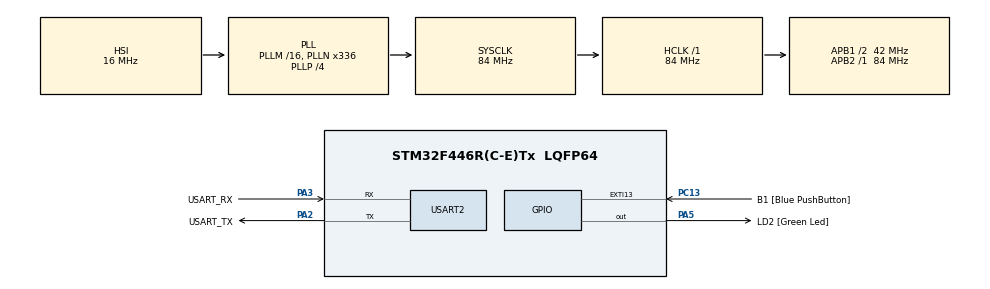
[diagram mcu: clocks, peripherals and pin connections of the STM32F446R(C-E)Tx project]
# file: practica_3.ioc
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Mcu.Family=STM32F4
Mcu.Name=STM32F446R(C-E)Tx
Mcu.Package=LQFP64
NVIC.PriorityGroup=NVIC_PRIORITYGROUP_0
PA13.GPIO_Label=TMS
PA13.Mode=Serial_Wire
PA13.Signal=SYS_JTMS-SWDIO
PA14.GPIO_Label=TCK
PA14.Mode=Serial_Wire
PA14.Signal=SYS_JTCK-SWCLK
PA2.GPIO_Label=USART_TX
PA2.Mode=Asynchronous
PA2.Signal=USART2_TX
PA3.GPIO_Label=USART_RX
PA3.Mode=Asynchronous
PA3.Signal=USART2_RX
PA5.GPIO_Label=LD2 [Green Led]
PA5.Signal=GPIO_Output
PB3.GPIO_Label=SWO
PB3.Signal=SYS_JTDO-SWO
PC13.GPIO_Label=B1 [Blue PushButton]
PC13.GPIO_ModeDefaultEXTI=GPIO_MODE_IT_FALLING
PC13.Signal=GPXTI13
PC14-OSC32_IN.Mode=LSE-External-Oscillator
PC14-OSC32_IN.Signal=RCC_OSC32_IN
PC15-OSC32_OUT.Mode=LSE-External-Oscillator
PC15-OSC32_OUT.Signal=RCC_OSC32_OUT
PH0-OSC_IN.Mode=HSE-External-Oscillator
PH0-OSC_IN.Signal=RCC_OSC_IN
PH1-OSC_OUT.Mode=HSE-External-Oscillator
PH1-OSC_OUT.Signal=RCC_OSC_OUT
ProjectManager.HeapSize=0x200
ProjectManager.StackSize=0x400
ProjectManager.TargetToolchain=STM32CubeIDE
RCC.48MHZClocksFreq_Value=84000000
RCC.AHBFreq_Value=84000000
RCC.APB1CLKDivider=RCC_HCLK_DIV2
RCC.APB1Freq_Value=42000000
RCC.APB1TimFreq_Value=84000000
RCC.APB2Freq_Value=84000000
RCC.APB2TimFreq_Value=84000000
RCC.CortexFreq_Value=84000000
RCC.FLatency-AdvancedSettings=FLASH_LATENCY_2
RCC.HCLKFreq_Value=84000000
RCC.HSE_VALUE=8000000
RCC.HSI_VALUE=16000000
RCC.PLLN=336
RCC.PLLP=RCC_PLLP_DIV4
RCC.SYSCLKFreq_VALUE=84000000
RCC.SYSCLKSource=RCC_SYSCLKSOURCE_PLLCLK
RCC.USBFreq_Value=168000000
RCC.VCOOutputFreq_Value=336000000
USART2.VirtualMode=VM_ASYNC
board=NUCLEO-F446RE

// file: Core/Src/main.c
/* USER CODE BEGIN Header */
/**
 ******************************************************************************
 * @file           : main.c
 * @brief          : Main program body
 ******************************************************************************
 * @attention
 *
 * Copyright (c) 2026 STMicroelectronics.
 * All rights reserved.
 *
 * This software is licensed under terms that can be found in the LICENSE file
 * in the root directory of this software component.
 * If no LICENSE file comes with this software, it is provided AS-IS.
 *
 ******************************************************************************
 */
/* USER CODE END Header */
#include "main.h"

/* USER CODE BEGIN Includes */
#include "API_delay.h"
/* USER CODE END Includes */

/* USER CODE BEGIN PD */
#define STEP_MS 100 //! Min time step time
#define FIRST_STEP 5
#define LAST_STEP 10

#define INIT_DURATION_DLY (FIRST_STEP * STEP_MS)
#define TIMES_PER_PERIOD 2 //! This is for the 50% dutycyle
/* USER CODE END PD */

UART_HandleTypeDef huart2;

/* USER CODE BEGIN PV */
const uint32_t TIEMPOS[] = { FIRST_STEP * STEP_MS, STEP_MS, STEP_MS,
LAST_STEP * STEP_MS };
const uint8_t len_times = sizeof(TIEMPOS) / sizeof(uint32_t);
/* USER CODE END PV */

void SystemClock_Config(void);
static void MX_GPIO_Init(void);
static void MX_USART2_UART_Init(void);

int main(void) {

	/* USER CODE BEGIN 1 */
	delay_t dly;
	uint8_t i; // counting sequence
	/* USER CODE END 1 */

	/* MCU Configuration--------------------------------------------------------*/

	/* Reset of all peripherals, Initializes the Flash interface and the Systick. */
	HAL_Init();

	/* USER CODE BEGIN Init */
	delayInit(&dly, INIT_DURATION_DLY);
	/* USER CODE END Init */

	/* Configure the system clock */
	SystemClock_Config();

	/* Initialize all configured peripherals */
	MX_GPIO_Init();
	MX_USART2_UART_Init();
	/* USER CODE BEGIN 2 */
	delayRead(&dly); // Starts the delay
	/* USER CODE END 2 */

	/* Infinite loop */
	/* USER CODE BEGIN WHILE */
	while (1) {
		if (delayRead(&dly)) {
			if (!delayIsRunning(&dly))
				delayWrite(&dly, TIEMPOS[i / TIMES_PER_PERIOD]); // for the 50% dutycycle
			HAL_GPIO_TogglePin(LD2_GPIO_Port, LD2_Pin);
			i++;
			i %= len_times * TIMES_PER_PERIOD;
		}
		/* USER CODE END WHILE */

	}
}

void SystemClock_Config(void) {
	RCC_OscInitTypeDef RCC_OscInitStruct = { 0 };
	RCC_ClkInitTypeDef RCC_ClkInitStruct = { 0 };

	/** Configure the main internal regulator output voltage
	 */
	__HAL_RCC_PWR_CLK_ENABLE();
	__HAL_PWR_VOLTAGESCALING_CONFIG(PWR_REGULATOR_VOLTAGE_SCALE3);

	/** Initializes the RCC Oscillators according to the specified parameters
	 * in the RCC_OscInitTypeDef structure.
	 */
	RCC_OscInitStruct.OscillatorType = RCC_OSCILLATORTYPE_HSI;
	RCC_OscInitStruct.HSIState = RCC_HSI_ON;
	RCC_OscInitStruct.HSICalibrationValue = RCC_HSICALIBRATION_DEFAULT;
	RCC_OscInitStruct.PLL.PLLState = RCC_PLL_ON;
	RCC_OscInitStruct.PLL.PLLSource = RCC_PLLSOURCE_HSI;
	RCC_OscInitStruct.PLL.PLLM = 16;
	RCC_OscInitStruct.PLL.PLLN = 336;
	RCC_OscInitStruct.PLL.PLLP = RCC_PLLP_DIV4;
	RCC_OscInitStruct.PLL.PLLQ = 2;
	RCC_OscInitStruct.PLL.PLLR = 2;
	if (HAL_RCC_OscConfig(&RCC_OscInitStruct) != HAL_OK) {
		Error_Handler();
	}

	/** Initializes the CPU, AHB and APB buses clocks
	 */
	RCC_ClkInitStruct.ClockType = RCC_CLOCKTYPE_HCLK | RCC_CLOCKTYPE_SYSCLK
			| RCC_CLOCKTYPE_PCLK1 | RCC_CLOCKTYPE_PCLK2;
	RCC_ClkInitStruct.SYSCLKSource = RCC_SYSCLKSOURCE_PLLCLK;
	RCC_ClkInitStruct.AHBCLKDivider = RCC_SYSCLK_DIV1;
	RCC_ClkInitStruct.APB1CLKDivider = RCC_HCLK_DIV2;
	RCC_ClkInitStruct.APB2CLKDivider = RCC_HCLK_DIV1;

	if (HAL_RCC_ClockConfig(&RCC_ClkInitStruct, FLASH_LATENCY_2) != HAL_OK) {
		Error_Handler();
	}
}

static void MX_USART2_UART_Init(void) {

	huart2.Instance = USART2;
	huart2.Init.BaudRate = 115200;
	huart2.Init.WordLength = UART_WORDLENGTH_8B;
	huart2.Init.StopBits = UART_STOPBITS_1;
	huart2.Init.Parity = UART_PARITY_NONE;
	huart2.Init.Mode = UART_MODE_TX_RX;
	huart2.Init.HwFlowCtl = UART_HWCONTROL_NONE;
	huart2.Init.OverSampling = UART_OVERSAMPLING_16;
	if (HAL_UART_Init(&huart2) != HAL_OK) {
		Error_Handler();
	}

}

static void MX_GPIO_Init(void) {
	GPIO_InitTypeDef GPIO_InitStruct = { 0 };

	/* GPIO Ports Clock Enable */
	__HAL_RCC_GPIOC_CLK_ENABLE();
	__HAL_RCC_GPIOH_CLK_ENABLE();
	__HAL_RCC_GPIOA_CLK_ENABLE();
	__HAL_RCC_GPIOB_CLK_ENABLE();

	/*Configure GPIO pin Output Level */
	HAL_GPIO_WritePin(LD2_GPIO_Port, LD2_Pin, GPIO_PIN_RESET);

	/*Configure GPIO pin : B1_Pin */
	GPIO_InitStruct.Pin = B1_Pin;
	GPIO_InitStruct.Mode = GPIO_MODE_IT_FALLING;
	GPIO_InitStruct.Pull = GPIO_NOPULL;
	HAL_GPIO_Init(B1_GPIO_Port, &GPIO_InitStruct);

	/*Configure GPIO pin : LD2_Pin */
	GPIO_InitStruct.Pin = LD2_Pin;
	GPIO_InitStruct.Mode = GPIO_MODE_OUTPUT_PP;
	GPIO_InitStruct.Pull = GPIO_NOPULL;
	GPIO_InitStruct.Speed = GPIO_SPEED_FREQ_LOW;
	HAL_GPIO_Init(LD2_GPIO_Port, &GPIO_InitStruct);

}

void Error_Handler(void) {
	__disable_irq();
	while (1) {
	}
}
